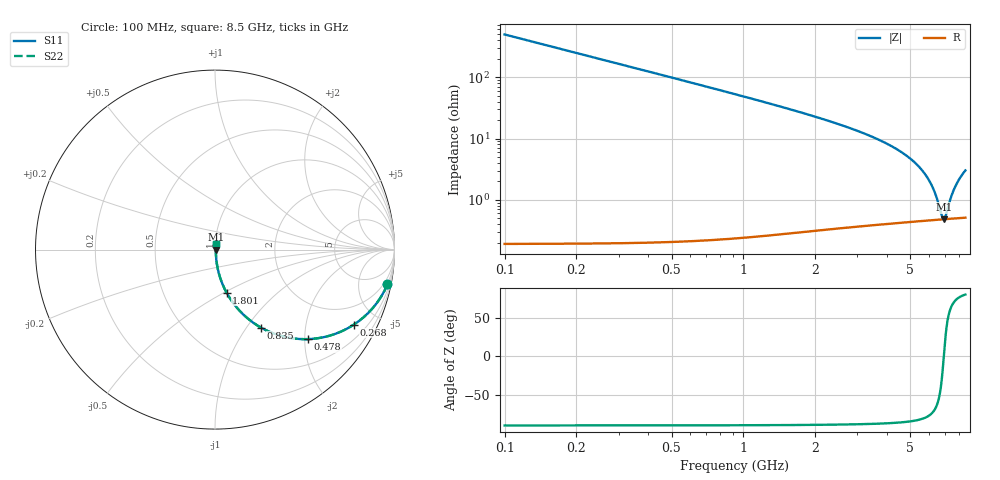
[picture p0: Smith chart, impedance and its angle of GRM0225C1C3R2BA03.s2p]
!Murata Part Number: GRM0225C1C3R2BA03
!These Parameters are Measured in Series Mode Connection
!Data Generated on Mar 30, 2021
!  o--ll--o
!Port1  Port2
!  o------o
!Operation Temp=25[degC], DC Bias Voltage=0[V]
!Freq. Start=100[MHz] Stop=9[GHz] 401[Steps]
# Hz S RI R 50
!Freq.(Hz) S11(Real) S11(Imag) S21(Real) S21(Imag) S12(Real) S12(Imag) S22(Real) S22(Imag)
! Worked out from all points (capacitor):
!   401 points, 100 MHz to 8.5 GHz, reference 50 ohm
!   read as one part in series: C = 3.2 pF near 142 MHz
!   lowest |Z| = 483 mohm at 6.904 GHz (marker M1)
!   series resonance near 6.902 GHz, so ESL is about 170 pH
!   S11 on the Smith chart (normalised r, x): 100 MHz: 1.00, -9.94; 268 MHz: 1.00, -3.71; 478 MHz: 1.00, -2.07; 835 MHz: 1.00, -1.17; 1.801 GHz: 1.01, -0.51; 8.5 GHz: 1.01, +0.06
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1e8  0.9611 -0.1933  0.0389 0.1933  0.0389 0.1933  0.9611 -0.1933
2.05e8  0.8543 -0.3524  0.1457 0.3524  0.1457 0.3524  0.8543 -0.3524
2.68e8  0.7742 -0.4176  0.2258 0.4176  0.2258 0.4176  0.7742 -0.4176
4.78e8  0.5172 -0.4987  0.4828 0.4987  0.4828 0.4987  0.5172 -0.4987
6.46e8  0.368 -0.4809  0.632 0.4809  0.632 0.4809  0.368 -0.4809
8.35e8  0.2565 -0.4348  0.7435 0.4348  0.7435 0.4348  0.2565 -0.4348
1.129e9  0.1562 -0.3601  0.8438 0.3601  0.8438 0.3601  0.1562 -0.3601
1.507e9  0.0914 -0.2838  0.9086 0.2838  0.9086 0.2838  0.0914 -0.2838
1.801e9  0.0641 -0.2391  0.9359 0.2391  0.9359 0.2391  0.0641 -0.2391
2.914e9  0.0224 -0.1357  0.9776 0.1357  0.9776 0.1357  0.0224 -0.1357
4.3e9  0.00896 -0.0692  0.991 0.0692  0.991 0.0692  0.00896 -0.0692
5.098e9  0.00626 -0.0434  0.9937 0.0434  0.9937 0.0434  0.00626 -0.0434
5.707e9  0.00526 -0.027  0.9947 0.027  0.9947 0.027  0.00526 -0.027
6.253e9  0.00486 -0.0139  0.9951 0.0139  0.9951 0.0139  0.00486 -0.0139
6.778e9  0.00479 -0.00256  0.9952 0.00256  0.9952 0.00256  0.00479 -0.00256
6.904e9  0.00481 3.13e-05  0.9952 -3.13e-05  0.9952 -3.13e-05  0.00481 3.13e-05
6.988e9  0.00483 0.00173  0.9952 -0.00173  0.9952 -0.00173  0.00483 0.00173
7.114e9  0.00487 0.00425  0.9951 -0.00425  0.9951 -0.00425  0.00487 0.00425
7.387e9  0.00499 0.00955  0.995 -0.00955  0.995 -0.00955  0.00499 0.00955
7.681e9  0.00518 0.015  0.9948 -0.015  0.9948 -0.015  0.00518 0.015
8.059e9  0.0055 0.0218  0.9945 -0.0218  0.9945 -0.0218  0.0055 0.0218
8.5e9  0.00597 0.0294  0.994 -0.0294  0.994 -0.0294  0.00597 0.0294
